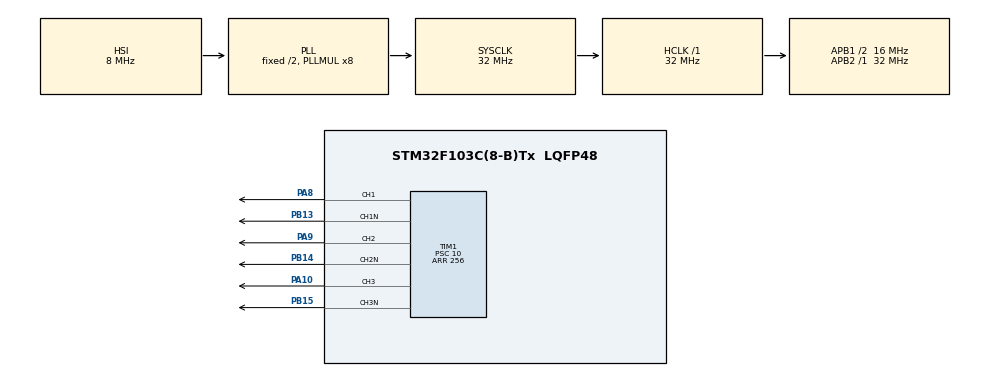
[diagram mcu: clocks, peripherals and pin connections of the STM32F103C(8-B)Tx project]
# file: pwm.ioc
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Mcu.Family=STM32F1
Mcu.Name=STM32F103C(8-B)Tx
Mcu.Package=LQFP48
NVIC.PriorityGroup=NVIC_PRIORITYGROUP_4
PA10.Signal=S_TIM1_CH3
PA13.Mode=Serial_Wire
PA13.Signal=SYS_JTMS-SWDIO
PA14.Mode=Serial_Wire
PA14.Signal=SYS_JTCK-SWCLK
PA8.Signal=S_TIM1_CH1
PA9.Signal=S_TIM1_CH2
PB13.Mode=PWM Generation1 CH1 CH1N
PB13.Signal=TIM1_CH1N
PB14.Mode=PWM Generation2 CH2 CH2N
PB14.Signal=TIM1_CH2N
PB15.Mode=PWM Generation3 CH3 CH3N
PB15.Signal=TIM1_CH3N
ProjectManager.HeapSize=0x200
ProjectManager.StackSize=0x400
ProjectManager.TargetToolchain=Makefile
RCC.AHBFreq_Value=32000000
RCC.APB1CLKDivider=RCC_HCLK_DIV2
RCC.APB1Freq_Value=16000000
RCC.APB1TimFreq_Value=32000000
RCC.APB2Freq_Value=32000000
RCC.APB2TimFreq_Value=32000000
RCC.HCLKFreq_Value=32000000
RCC.PLLMUL=RCC_PLL_MUL8
RCC.SYSCLKFreq_VALUE=32000000
RCC.SYSCLKSource=RCC_SYSCLKSOURCE_PLLCLK
RCC.USBFreq_Value=32000000
SH.S_TIM1_CH1.0=TIM1_CH1,PWM Generation1 CH1 CH1N
SH.S_TIM1_CH2.0=TIM1_CH2,PWM Generation2 CH2 CH2N
SH.S_TIM1_CH3.0=TIM1_CH3,PWM Generation3 CH3 CH3N
TIM1.AutomaticOutput=TIM_AUTOMATICOUTPUT_ENABLE
TIM1.BreakState=TIM_BREAK_DISABLE
TIM1.Channel-PWM\ Generation1\ CH1\ CH1N=TIM_CHANNEL_1
TIM1.Channel-PWM\ Generation2\ CH2\ CH2N=TIM_CHANNEL_2
TIM1.Channel-PWM\ Generation3\ CH3\ CH3N=TIM_CHANNEL_3
TIM1.DeadTime=16
TIM1.OCMode_PWM-PWM\ Generation1\ CH1\ CH1N=TIM_OCMODE_PWM1
TIM1.OCMode_PWM-PWM\ Generation2\ CH2\ CH2N=TIM_OCMODE_PWM1
TIM1.OCMode_PWM-PWM\ Generation3\ CH3\ CH3N=TIM_OCMODE_PWM1
TIM1.OCNPolarity_1=TIM_OCNPOLARITY_HIGH
TIM1.Period=256
TIM1.Prescaler=10
VP_TIM1_VS_ClockSourceINT.Mode=Internal
board=pwm

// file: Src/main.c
/* USER CODE BEGIN Header */
/**
  ******************************************************************************
  * @file           : main.c
  * @brief          : Main program body
  ******************************************************************************
  * @attention
  *
  * <h2><center>&copy; Copyright (c) 2020 STMicroelectronics.
  * All rights reserved.</center></h2>
  *
  * This software component is licensed by ST under BSD 3-Clause license,
  * the "License"; You may not use this file except in compliance with the
  * License. You may obtain a copy of the License at:
  *                        opensource.org/licenses/BSD-3-Clause
  *
  ******************************************************************************
  */
/* USER CODE END Header */

#include "main.h"
#include "tim.h"
#include "gpio.h"

/* USER CODE BEGIN Includes */
#include "math.h"
#define sinus_points 255
#define minimal_amplitude 3
/* USER CODE END Includes */

/* USER CODE BEGIN PV */
/* Private variables ---------------------------------------------------------*/

float PI = 3.14;
uint16_t sin_table_a[sinus_points];
uint16_t sin_table_b[sinus_points];
uint16_t sin_table_c[sinus_points];
float delay_time = 2550.0; // set delay for begin minimal speed
/* USER CODE END PV */

void SystemClock_Config(void);
/* USER CODE BEGIN PFP */
/* Private function prototypes -----------------------------------------------*/
void sin_init(uint16_t i);

void sin_init(uint16_t i)
{
  sin_table_c[(i+(sinus_points/3*1)) & (sinus_points-1)]=
  sin_table_b[(i+(sinus_points/3*2)) & (sinus_points-1)]=
  sin_table_a[(i+(sinus_points/3*3)) & (sinus_points-1)]=
  minimal_amplitude+(uint16_t)((sin((float) i*(2*PI/sinus_points))+1)*(sinus_points/2-1));
}

void delay_cycle(volatile uint32_t cycle_count)
{
  while(cycle_count--)
  {
    __ASM volatile ("NOP");
  }
}

/* USER CODE END PFP */

int main(void)
{

  /* MCU Configuration--------------------------------------------------------*/

  /* Reset of all peripherals, Initializes the Flash interface and the Systick. */
  HAL_Init();

  /* Configure the system clock */
  SystemClock_Config();

  /* Initialize all configured peripherals */
  MX_GPIO_Init();
  MX_TIM1_Init();
  /* USER CODE BEGIN 2 */
  HAL_TIM_PWM_Start(&htim1, TIM_CHANNEL_1);    //starts PWM on CH1 pin
  HAL_TIM_PWM_Start(&htim1, TIM_CHANNEL_2);    //starts PWM on CH2 pin
  HAL_TIM_PWM_Start(&htim1, TIM_CHANNEL_3);    //starts PWM on CH3 pin

  HAL_TIMEx_PWMN_Start(&htim1, TIM_CHANNEL_1); //starts PWM on CH1N pin
  HAL_TIMEx_PWMN_Start(&htim1, TIM_CHANNEL_2); //starts PWM on CH2N pin
  HAL_TIMEx_PWMN_Start(&htim1, TIM_CHANNEL_3); //starts PWM on CH3N pin
  /* USER CODE END 2 */

  /* Infinite loop */
  /* USER CODE BEGIN WHILE */
  for (uint32_t i=0; i<sinus_points; i++)
  {
    sin_init(i);
  }

  while (1)
  {
    /* USER CODE END WHILE */

    /* USER CODE BEGIN 3 */

   for(uint32_t i=0;i<=sinus_points;i++)
   {
     delay_time = delay_time - 0.2;
     if(delay_time < sinus_points) delay_time = sinus_points;

     if(delay_time <= sinus_points)
     {
       TIM1->CCR1=(sin_table_a[i & (sinus_points-1)]);
       TIM1->CCR2=(sin_table_b[i & (sinus_points-1)]);
       TIM1->CCR3=(sin_table_c[i & (sinus_points-1)]);
       delay_cycle(delay_time);
     }

     /*
      * Reduction of effective amplitude
      * at low spindle rpm
      */
     if(delay_time > sinus_points)
     {
       TIM1->CCR1=(sin_table_a[i & (sinus_points-1)])-(delay_time/10);
       TIM1->CCR2=(sin_table_b[i & (sinus_points-1)])-(delay_time/10);
       TIM1->CCR3=(sin_table_c[i & (sinus_points-1)])-(delay_time/10);
       delay_cycle(delay_time);
     }
   }
 }
  /* USER CODE END 3 */
}

void SystemClock_Config(void)
{
  RCC_OscInitTypeDef RCC_OscInitStruct = {0};
  RCC_ClkInitTypeDef RCC_ClkInitStruct = {0};

  /** Initializes the CPU, AHB and APB busses clocks
  */
  RCC_OscInitStruct.OscillatorType = RCC_OSCILLATORTYPE_HSI;
  RCC_OscInitStruct.HSIState = RCC_HSI_ON;
  RCC_OscInitStruct.HSICalibrationValue = RCC_HSICALIBRATION_DEFAULT;
  RCC_OscInitStruct.PLL.PLLState = RCC_PLL_ON;
  RCC_OscInitStruct.PLL.PLLSource = RCC_PLLSOURCE_HSI_DIV2;
  RCC_OscInitStruct.PLL.PLLMUL = RCC_PLL_MUL8;
  if (HAL_RCC_OscConfig(&RCC_OscInitStruct) != HAL_OK)
  {
    Error_Handler();
  }
  /** Initializes the CPU, AHB and APB busses clocks
  */
  RCC_ClkInitStruct.ClockType = RCC_CLOCKTYPE_HCLK|RCC_CLOCKTYPE_SYSCLK
                              |RCC_CLOCKTYPE_PCLK1|RCC_CLOCKTYPE_PCLK2;
  RCC_ClkInitStruct.SYSCLKSource = RCC_SYSCLKSOURCE_PLLCLK;
  RCC_ClkInitStruct.AHBCLKDivider = RCC_SYSCLK_DIV1;
  RCC_ClkInitStruct.APB1CLKDivider = RCC_HCLK_DIV2;
  RCC_ClkInitStruct.APB2CLKDivider = RCC_HCLK_DIV1;

  if (HAL_RCC_ClockConfig(&RCC_ClkInitStruct, FLASH_LATENCY_1) != HAL_OK)
  {
    Error_Handler();
  }
}

void Error_Handler(void)
{
  while(1)
  {
  }
}

/************************ (C) COPYRIGHT STMicroelectronics *****END OF FILE****/
